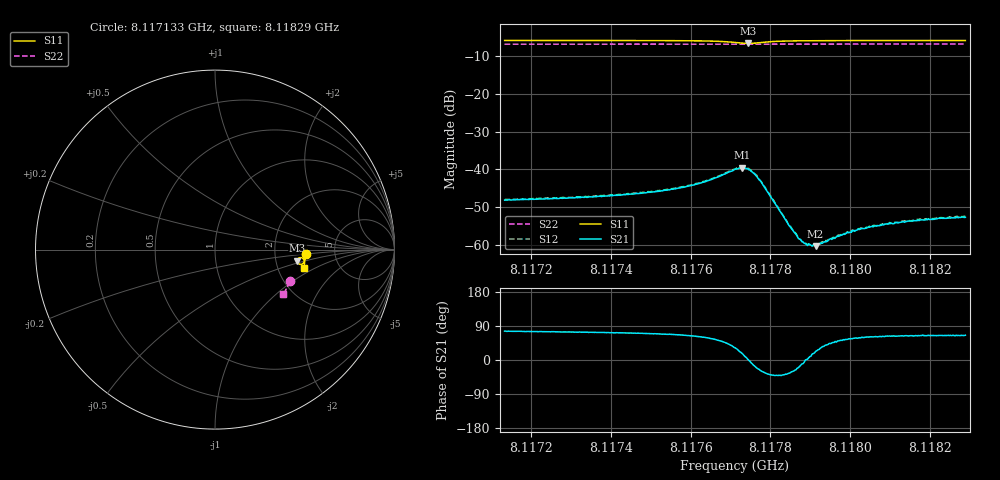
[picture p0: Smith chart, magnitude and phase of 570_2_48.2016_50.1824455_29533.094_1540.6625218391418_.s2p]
#  HZ  S  RI  R  50.00
! Rohde & Schwarz Vector Network Analyzer
! Rohde-Schwarz,ZNB20-2Port,1311601062101988,3.16
! Created: UTC 3/20/2024, 12:01:39 PM
! freq[Hz]  re:S11  im:S11  re:S21  im:S21  re:S12  im:S12  re:S22  im:S22
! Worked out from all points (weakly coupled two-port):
!   401 points, 8.117133 GHz to 8.11829 GHz, reference 50 ohm
!   highest |S21| = -39.51 dB at 8.117729 GHz (marker M1); lowest = -60.3 dB at 8.117914 GHz (marker M2)
!   lowest |S11| = -6.7 dB at 8.117743 GHz (marker M3), VSWR 2.72, Z = 132 - j20.7 ohm
!   |S11| at or under -10 dB: nowhere
!   |S22| runs from -6.9 to -6.8 dB; largest |S21 - S12| = 0.0004
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8.117133e9  0.506 -0.0256  0.000935 0.00381  0.000976 0.00385  0.4155 -0.1774
8.1173268e9  0.5044 -0.0416  0.00124 0.00411  0.00124 0.0042  0.4105 -0.19
8.1174309e9  0.5029 -0.0508  0.00146 0.0044  0.00151 0.00447  0.4075 -0.1966
8.1175205e9  0.5009 -0.0596  0.00186 0.0048  0.00193 0.00489  0.4049 -0.2024
8.1175842e9  0.4982 -0.0672  0.00244 0.00532  0.0025 0.00542  0.4029 -0.2067
8.1176276e9  0.4945 -0.0733  0.00325 0.00581  0.00334 0.00588  0.4016 -0.2095
8.1176709e9  0.4867 -0.0799  0.005 0.00632  0.00516 0.00641  0.3999 -0.2122
8.1177114e9  0.4696 -0.0808  0.0085 0.00539  0.00857 0.0054  0.3979 -0.2145
8.1177288e9  0.4607 -0.0731  0.0101 0.00319  0.0102 0.00314  0.3973 -0.2151
8.1177433e9  0.458 -0.0617  0.0102 0.000374  0.0104 0.000399  0.3968 -0.2153
8.1177606e9  0.4642 -0.0492  0.00839 -0.0024  0.00848 -0.0024  0.3966 -0.2158
8.1177722e9  0.4714 -0.0451  0.0066 -0.00305  0.00672 -0.00323  0.3967 -0.2165
8.1178474e9  0.4958 -0.0566  0.00149 -0.00103  0.00155 -0.00109  0.3953 -0.2219
8.1178734e9  0.4975 -0.0614  0.00114 -0.000356  0.00115 -0.000365  0.3946 -0.2236
8.1178879e9  0.4982 -0.0636  0.00105 -6.16e-06  0.00107 -0.000101  0.3941 -0.2246
8.1179052e9  0.4986 -0.0662  0.000933 0.000267  0.00097 0.000236  0.3937 -0.2258
8.1179139e9  0.4988 -0.0675  0.000892 0.000375  0.000964 0.00036  0.3933 -0.2263
8.1180007e9  0.4989 -0.0776  0.000835 0.00123  0.000874 0.00123  0.3906 -0.2317
8.1180267e9  0.4987 -0.0804  0.000865 0.00139  0.000885 0.00143  0.3896 -0.2335
8.118099e9  0.4979 -0.0871  0.000857 0.00172  0.000883 0.00178  0.387 -0.238
8.1181713e9  0.4969 -0.0934  0.00091 0.00191  0.000997 0.00193  0.3846 -0.2426
8.1182899e9  0.495 -0.103  0.000971 0.00211  0.00101 0.00217  0.3803 -0.2496
